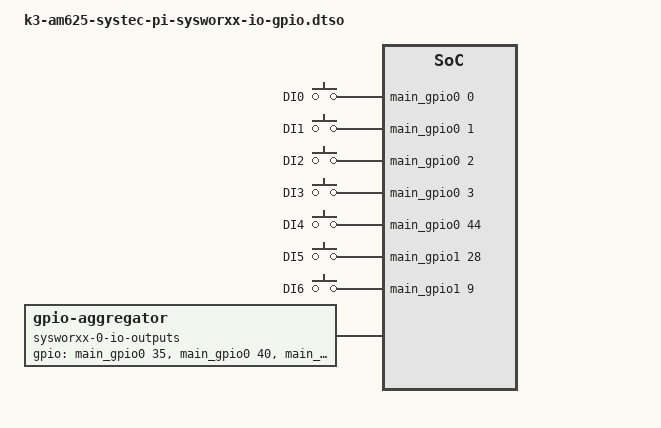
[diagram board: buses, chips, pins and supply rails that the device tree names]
// SPDX-License-Identifier: GPL-2.0

/**
 * Copyright (C) 2025 SYS TEC electronic AG
 *
 * Basic GPIO device tree overlay
 */

/dts-v1/;
/plugin/;

#include <dt-bindings/gpio/gpio.h>
#include <dt-bindings/input/input.h>
#include "k3-pinctrl.h"

&main_pmx0 {
	gpio0_pins_inputs: gpio0-pins-inputs {
		pinctrl-single,pins = <
			AM62X_IOPAD(0x0000, PIN_INPUT_PULLDOWN, 7) /* (H24) OSPI0_CLK.GPIO0_0 */
			AM62X_IOPAD(0x0004, PIN_INPUT_PULLDOWN, 7) /* (G25) OSPI0_LBCLKO.GPIO0_1 */
			AM62X_IOPAD(0x0008, PIN_INPUT_PULLDOWN, 7) /* (J24) OSPI0_DQS.GPIO0_2 */
			AM62X_IOPAD(0x000c, PIN_INPUT_PULLDOWN, 7) /* (E25) OSPI0_D0.GPIO0_3 */
			AM62X_IOPAD(0x00b4, PIN_INPUT, 7) /* (K24) GPMC0_CSn3.GPIO0_44 */
		>;
	};

	gpio1_pins_inputs: gpio1-pins-inputs {
		pinctrl-single,pins = <
			AM62X_IOPAD(0x01e8, PIN_INPUT_PULLDOWN, 7) /* (B17) I2C1_SCL.GPIO1_28 */
			AM62X_IOPAD(0x019c, PIN_INPUT_PULLDOWN, 7) /* (B18) MCASP0_AXR1.GPIO1_9 */
		>;
	};

	gpio0_pins_outputs: gpio0-pins-outputs {
		pinctrl-single,pins = <
			AM62X_IOPAD(0x0090, PIN_INPUT_PULLDOWN, 7) /* (M24) GPMC0_BE0n_CLE.GPIO0_35 */
			AM62X_IOPAD(0x00a4, PIN_INPUT_PULLDOWN, 7) /* (M22) GPMC0_DIR.GPIO0_40 */
			AM62X_IOPAD(0x00b0, PIN_INPUT, 7) /* (K22) GPMC0_CSn2.GPIO0_43 */
			AM62X_IOPAD(0x00a8, PIN_INPUT_PULLDOWN, 7) /* (M21) GPMC0_CSn0.GPIO0_41 */
			AM62X_IOPAD(0x0010, PIN_INPUT_PULLDOWN, 7) /* (G24) OSPI0_D1.GPIO0_4 */
		>;
	};
};

&{/} {
	sysworxx-0-io-inputs {
		pinctrl-names = "default";
		pinctrl-0 = <&gpio0_pins_inputs>, <&gpio1_pins_inputs>;
		compatible = "gpio-keys";

		di@0 { label = "DI0"; linux,code = <KEY_F1>; gpios = <&main_gpio0 0 GPIO_ACTIVE_HIGH>; };
		di@1 { label = "DI1"; linux,code = <KEY_F2>; gpios = <&main_gpio0 1 GPIO_ACTIVE_HIGH>; };
		di@2 { label = "DI2"; linux,code = <KEY_F3>; gpios = <&main_gpio0 2 GPIO_ACTIVE_HIGH>; };
		di@3 { label = "DI3"; linux,code = <KEY_F4>; gpios = <&main_gpio0 3 GPIO_ACTIVE_HIGH>; };
		di@4 { label = "DI4"; linux,code = <KEY_F5>; gpios = <&main_gpio0 44 GPIO_ACTIVE_HIGH>; };
		di@5 { label = "DI5"; linux,code = <KEY_F6>; gpios = <&main_gpio1 28 GPIO_ACTIVE_HIGH>; };
		di@6 { label = "DI6"; linux,code = <KEY_F7>; gpios = <&main_gpio1 9 GPIO_ACTIVE_HIGH>; };
	};

	sysworxx-0-io-outputs {
		pinctrl-names = "default";
		pinctrl-0 = <&gpio0_pins_outputs>;
		compatible = "gpio-aggregator";

		gpios = <&main_gpio0 35 GPIO_ACTIVE_HIGH>,
				<&main_gpio0 40 GPIO_ACTIVE_HIGH>,
				<&main_gpio0 43 GPIO_ACTIVE_HIGH>,
				<&main_gpio0 41 GPIO_ACTIVE_HIGH>,
				<&main_gpio0 4 GPIO_ACTIVE_HIGH>;
		gpio-line-names =	"DO0",
							"DO1",
							"DO2",
							"DO3",
							"DO4";
	};
};
